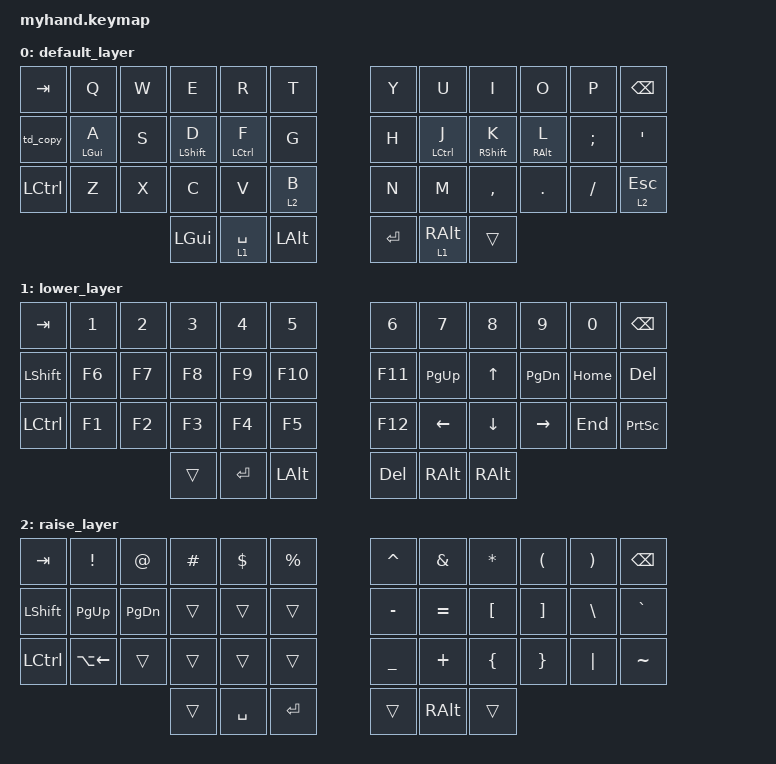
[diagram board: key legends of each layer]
 /*
 * Copyright (c) 2020 The ZMK Contributors
 *
 * SPDX-License-Identifier: MIT
 */

#include <behaviors.dtsi>
#include <dt-bindings/zmk/keys.h>
#include <dt-bindings/zmk/bt.h>

#define DEFAULT 0
#define LOWER 1
#define FUNC 2
#define OTHER 3

#define NUM_L 1 2 3 4 5
#define NUM_R 6 7 8 9 10

#define ALPHA_L 13 14 15 16 17 \
                25 26 27 28 29 \
                37 38 39 40 41 42
#define ALPHA_R 18 19 20 21 22 \
                30 31 32 33 34 \
             43 44 45 46 47 48

#define MACRO_L 0 12 24 36
#define MACRO_R 11 23 35 49

#define THUMBS 50 51 52 53 54

/ {
    
   
behaviors {
        
// -----------------------------------------------------------------------------------------
// | 00 | 01 | 02 | 03 | 04 | 05 |   | 06 | 07 | 08 | 09 | 10 | 11 |
// | 12 | 13 | 14 | 15 | 16 | 17 |   | 18 | 19 | 20 | 21 | 22 | 23 |
// | 24 | 25 | 26 | 27 | 28 | 29 |   | 30 | 31 | 32 | 33 | 34 | 35 |
//                |    | 39 | 40 |   | 41 | 42 |    |
        combos {
            compatible = "zmk,combos";
            // symbols
            
                combo_LALT2 {
                    timeout-ms = <50>;
                    key-positions = <33 34>;
                    bindings = <&kp LALT>;
                };
            combo_win {
                timeout-ms = <50>;
                key-positions = <10 11>;
                bindings = <&kp LGUI>;
            };
       
        };

         td_r0: tap_dance_RET {
            compatible = "zmk,behavior-tap-dance";
            #binding-cells = <0>;
            tapping-term-ms = <200>;        
            bindings = <&kp RET>, <&kp LALT>;
        };
        td_s0: tap_dance_Shift {
            compatible = "zmk,behavior-tap-dance";
            #binding-cells = <0>;
            tapping-term-ms = <200>;
            bindings = <&kp LSHFT>, <&kp SEMI>;
        };
        td_copy: tap_dance_ctrl {
            compatible = "zmk,behavior-tap-dance";
            #binding-cells = <0>;
            tapping-term-ms = <200>;
            bindings = <&kp LSHFT>, <&kp LCTRL>;
        };

        bhml: balanced_homerow_left {
            compatible = "zmk,behavior-hold-tap";
            #binding-cells = <2>;
            flavor = "balanced";
            tapping-term-ms = <230>;
            quick-tap-ms = <175>;                // repeat on tap-into-hold
            require-prior-idle-ms = <80>;
            bindings = <&kp>, <&kp>;
            hold-trigger-key-positions = <NUM_R ALPHA_R MACRO_R THUMBS>;    // <---[[the W key]]
            hold-trigger-on-release;
        };

        bhmr: balanced_homerow_right {
            compatible = "zmk,behavior-hold-tap";
            #binding-cells = <2>;
            flavor = "balanced";
            tapping-term-ms = <230>;
            quick-tap-ms = <175>;                // repeat on tap-into-hold
            require-prior-idle-ms = <80>;
            bindings = <&kp>, <&kp>;
            hold-trigger-key-positions = <NUM_L ALPHA_L MACRO_L THUMBS>;    // <---[[the W key]]
            hold-trigger-on-release;
        };
        
  };
    

    keymap {
        compatible = "zmk,keymap";
 
        default_layer {
// -----------------------------------------------------------------------------------------
// |  TAB |  Q  |  W  |  E  |  R  |  T  |   |  Y  |  U   |  I  |  O  |  P  | BKSP |
// | SHFT |  A  |  S  |  D  |  F  |  G  |   |  H  |  J   |  K  |  L  |  ;  |  '   |
// | CTRL |  Z  |  X  |  C  |  V  |  B  |   |  N  |  M   |  ,  |  .  |  /  | ESC  |
//                    |     | SPC |LALT |   | ENT | RALT |  -  |
                        bindings = <
   &kp TAB   &kp Q   &kp W          &kp E          &kp R          &kp T    &kp Y    &kp U           &kp I          &kp O          &kp P    &kp BSPC
   &td_copy  &bhml LGUI A   &kp S   &bhml LSHIFT D &bhml LCTRL F  &kp G    &kp H    &bhmr LCTRL J   &bhmr RSHIFT K &bhmr RALT L   &kp SEMICOLON   &kp SQT
   &kp LCTRL &kp Z   &kp X          &kp C          &kp V          &lt 2 B  &kp N    &kp M           &kp COMMA      &kp DOT        &kp FSLH &lt 2 ESC
                                    &kp LGUI       &lt 1 SPACE    &kp LALT &kp RET &lt 1 RALT  &trans  
                        >;
                };
                lower_layer {
// -----------------------------------------------------------------------------------------
// |  TAB |  1  |  2  |  3  |  4  |  5  |   |  6  |  7  |  8  |  9  |  0  | BKSP |
// | SHFT | F6  | F7  | F8  | F9  | F10 |   | F11 | PGUP| UP  | PGDN| HOME| DEL  |
// | CTRL | F1  | F2  | F3  | F4  | F5  |   | F12 | LEFT| DOWN|RIGHT| END |PSCRN |
//                    |     | ENT | LALT|   | DEL | ALT |     |
                        bindings = <
   &kp TAB    &kp N1       &kp N2       &kp N3       &kp N4       &kp N5         &kp N6   &kp N7     &kp N8    &kp N9      &kp N0   &kp BSPC
   &kp LSHFT  &kp F6       &kp F7       &kp F8       &kp F9       &kp F10        &kp F11  &kp PG_UP  &kp UP    &kp PG_DN   &kp HOME &kp DEL
   &kp LCTRL  &kp F1       &kp F2       &kp F3       &kp F4       &kp F5         &kp F12  &kp LEFT   &kp DOWN  &kp RIGHT   &kp END  &kp PSCRN
                                        &trans       &kp RET     &kp LALT      &kp DEL   &kp RALT   &kp RALT
                        >;
                };

                raise_layer {
// -----------------------------------------------------------------------------------------
// |  TAB |  !  |  @  |  #  |  $  |  %  |   |  ^  |  &  |  *  |  (  |  )  | BKSP |
// | SHFT |PG_UP|PG_DN|     |     |     |   |  -  |  =  |  [  |  ]  |  \  |  `   |
// | CTRL |Left |BTCLR|BT_00|BT_01|BT_02|   |  _  |  +  |  {  |  }  | "|" |  ~   |
//        ALT+LEFT    |     |     | SPC |   | ENT | ALT |     |
                        bindings = <
   &kp  TAB  &kp EXCL      &kp AT    &kp HASH   &kp DLLR   &kp PRCNT   &kp CARET &kp AMPS  &kp ASTRK &kp LPAR &kp RPAR &kp BSPC
   &kp LSHFT &kp PG_UP     &kp PG_DN &trans     &trans     &trans      &kp MINUS &kp EQUAL &kp LBKT  &kp RBKT &kp BSLH &kp GRAVE
   &kp LCTRL &kp LA(LEFT)  &trans    &trans     &trans     &trans         &kp UNDER &kp PLUS  &kp LBRC  &kp RBRC &kp PIPE &kp TILDE
                           &trans    &kp SPACE  &kp RET    &trans      &kp RALT  &trans
                        >;
                };
        };
};
  

